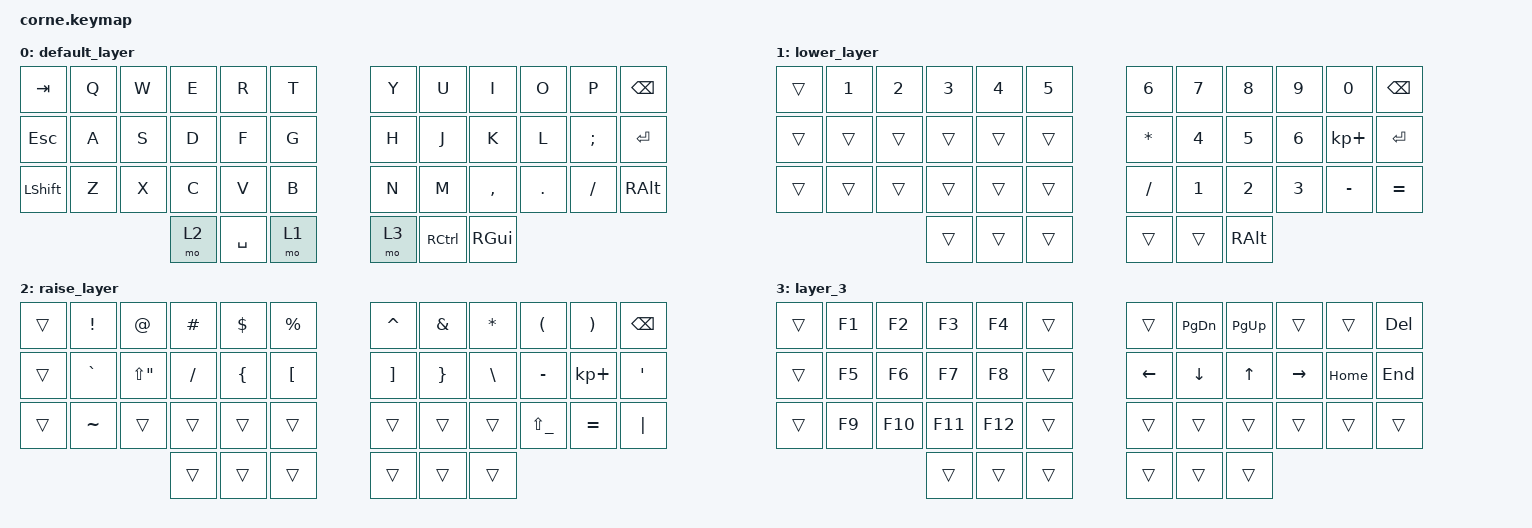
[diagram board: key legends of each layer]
/*
 * Copyright (c) 2020 The ZMK Contributors
 *
 * SPDX-License-Identifier: MIT
 */

#include <behaviors.dtsi>
#include <dt-bindings/zmk/keys.h>

/ {
    keymap {
        compatible = "zmk,keymap";

        default_layer {
            // -----------------------------------------------------------------------------------------
            // |  TAB |  Q  |  W  |  E  |  R  |  T  |   |  Y  |  U   |  I  |  O  |  P  | BSPC |
            // | CTRL |  A  |  S  |  D  |  F  |  G  |   |  H  |  J   |  K  |  L  |  ;  |  '   |
            // | SHFT |  Z  |  X  |  C  |  V  |  B  |   |  N  |  M   |  ,  |  .  |  /  | ESC  |
            //                    | GUI | LWR | SPC |   | ENT | RSE  | ALT |

            bindings = <
&kp TAB    &kp Q  &kp W  &kp E  &kp R      &kp T    &kp Y  &kp U      &kp I      &kp O    &kp P     &kp BSPC
&kp ESC    &kp A  &kp S  &kp D  &kp F      &kp G    &kp H  &kp J      &kp K      &kp L    &kp SEMI  &kp ENTER
&kp LSHFT  &kp Z  &kp X  &kp C  &kp V      &kp B    &kp N  &kp M      &kp COMMA  &kp DOT  &kp FSLH  &kp RALT
                         &mo 2  &kp SPACE  &mo 1    &mo 3  &kp RCTRL  &kp RGUI
            >;
        };

        lower_layer {
            // -----------------------------------------------------------------------------------------
            // |  TAB |  1  |  2  |  3  |  4  |  5  |   |  6  |  7  |  8  |  9  |  0  | BSPC |
            // | BTCLR| BT1 | BT2 | BT3 | BT4 | BT5 |   | LFT | DWN |  UP | RGT |     |      |
            // | SHFT |     |     |     |     |     |   |     |     |     |     |     |      |
            //                    | GUI |     | SPC |   | ENT |     | ALT |

            bindings = <
&trans  &kp N1  &kp N2  &kp N3  &kp N4  &kp N5    &kp N6     &kp N7  &kp N8    &kp N9  &kp N0       &kp BSPC
&trans  &trans  &trans  &trans  &trans  &trans    &kp ASTRK  &kp N4  &kp N5    &kp N6  &kp KP_PLUS  &kp ENTER
&trans  &trans  &trans  &trans  &trans  &trans    &kp FSLH   &kp N1  &kp N2    &kp N3  &kp MINUS    &kp EQUAL
                        &trans  &trans  &trans    &trans     &trans  &kp RALT
            >;
        };

        raise_layer {
            // -----------------------------------------------------------------------------------------
            // |  TAB |  !  |  @  |  #  |  $  |  %  |   |  ^  |  &  |  *  |  (  |  )  | BSPC |
            // | CTRL |     |     |     |     |     |   |  -  |  =  |  [  |  ]  |  \  |  `   |
            // | SHFT |     |     |     |     |     |   |  _  |  +  |  {  |  }  | "|" |  ~   |
            //                    | GUI |     | SPC |   | ENT |     | ALT |

            bindings = <
&trans  &kp EXCL   &kp AT       &kp HASH  &kp DLLR        &kp PRCNT    &kp CARET  &kp AMPS         &kp ASTRK  &kp LPAR       &kp RPAR     &kp BSPC
&trans  &kp GRAVE  &kp LS(DQT)  &kp FSLH  &kp LEFT_BRACE  &kp LBKT     &kp RBKT   &kp RIGHT_BRACE  &kp BSLH   &kp MINUS      &kp KP_PLUS  &kp SINGLE_QUOTE
&trans  &kp TILDE  &trans       &trans    &trans          &trans       &trans     &trans           &trans     &kp LS(UNDER)  &kp EQUAL    &kp PIPE
                                &trans    &trans          &trans       &trans     &trans           &trans
            >;
        };

        layer_3 {
            bindings = <
&trans  &kp F1  &kp F2   &kp F3   &kp F4   &trans    &trans    &kp PG_DN  &kp PG_UP  &trans     &trans    &kp DEL
&trans  &kp F5  &kp F6   &kp F7   &kp F8   &trans    &kp LEFT  &kp DOWN   &kp UP     &kp RIGHT  &kp HOME  &kp END
&trans  &kp F9  &kp F10  &kp F11  &kp F12  &trans    &trans    &trans     &trans     &trans     &trans    &trans
                         &trans   &trans   &trans    &trans    &trans     &trans
            >;
        };
    };
};
